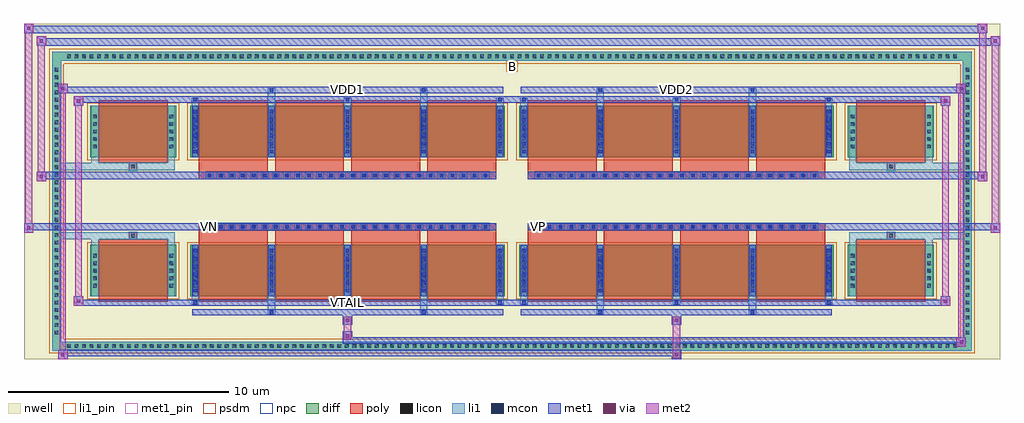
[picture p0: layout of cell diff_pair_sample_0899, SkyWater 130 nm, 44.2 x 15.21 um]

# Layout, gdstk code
import gdstk
lib = gdstk.Library(unit=1e-6, precision=5e-09)
def R(c, l, rs):  # rectangles x0, y0, x1, y1
    for r in rs: c.add(gdstk.rectangle(r[:2], r[2:], *l))
def A(c, l, x, y, w, h, nx, ny, dx, dy):  # array of equal rectangles
    R(c, l, [(x+i*dx, y+j*dy, x+i*dx+w, y+j*dy+h) for i in range(nx) for j in range(ny)])
def P(c, l, *ps):  # polygons
    for p in ps: c.add(gdstk.Polygon(p, *l))
nwell = (64, 20)
diff = (65, 20)
poly = (66, 20)
licon = (66, 44)
li1_pin = (67, 16)
li1 = (67, 20)
mcon = (67, 44)
met1_pin = (68, 16)
met1 = (68, 20)
via = (68, 44)
met2 = (69, 20)
psdm = (94, 20)
npc = (95, 20)

diff_pair_sample_0899 = lib.new_cell('diff_pair_sample_0899')
R(diff_pair_sample_0899, nwell, [(-22.1,-7.17,22.1,8.04), (-19.42,-5.36,-0.01,-0.8), (0.01,-5.36,19.42,-0.8), (-19.42,0.8,-0.01,5.36), (0.01,0.8,19.42,5.36)])
A(diff_pair_sample_0899, diff, -20.265, -6.77, 0.41, 0.41, 119, 2, 0.34, 13.13)
A(diff_pair_sample_0899, diff, -20.83, -6.155, 0.41, 0.41, 1, 36, 0, 0.34)
A(diff_pair_sample_0899, diff, 20.42, -6.155, 0.41, 0.41, 1, 36, 0, 0.34)
R(diff_pair_sample_0899, diff, [(-20.265,-6.77,20.265,-6.36), (-20.83,-6.155,-20.42,6.155), (20.42,-6.155,20.83,6.155), (-19.11,-4.315,-15.21,-1.985), (-14.57,-4.315,-0.32,-1.985), (0.32,-4.315,14.57,-1.985), (15.21,-4.315,19.11,-1.985), (-19.11,1.985,-15.21,4.315), (-14.57,1.985,-0.32,4.315), (0.32,1.985,14.57,4.315), (15.21,1.985,19.11,4.315), (-20.265,6.36,20.265,6.77)])
P(diff_pair_sample_0899, diff, [(20.83,6.77),(-20.83,6.77),(-20.83,-6.36),(-20.42,-6.36),(-20.42,6.36),(20.42,6.36),(20.42,-6.36),(-20.42,-6.36),(-20.83,-6.36),(-20.83,-6.77),(20.83,-6.77)])
A(diff_pair_sample_0899, poly, -14.18, -4.565, 3.12, 2.83, 4, 2, 3.45, 6.3)
A(diff_pair_sample_0899, poly, 0.71, -4.565, 3.12, 2.83, 4, 2, 3.45, 6.3)
A(diff_pair_sample_0899, poly, -14.18, -1.735, 3.12, 0.405, 4, 2, 3.45, 3.065)
A(diff_pair_sample_0899, poly, 0.71, -1.735, 3.12, 0.405, 4, 2, 3.45, 3.065)
A(diff_pair_sample_0899, poly, -13.86, -1.33, 0.33, 0.33, 26, 2, 0.5, 2.33)
A(diff_pair_sample_0899, poly, 1.03, -1.33, 0.33, 0.33, 26, 2, 0.5, 2.33)
R(diff_pair_sample_0899, poly, [(-18.72,-4.565,-15.6,-1.735), (15.6,-4.565,18.72,-1.735), (-17.325,-1.735,-16.995,-1.405), (-17.325,-1.735,-16.995,-1.405), (16.995,-1.735,17.325,-1.405), (16.995,-1.735,17.325,-1.405), (-14.18,-1.33,-0.71,-1), (0.71,-1.33,14.18,-1), (-14.18,1,-0.71,1.33), (0.71,1,14.18,1.33), (-17.325,1.405,-16.995,1.735), (-17.325,1.405,-16.995,1.735), (16.995,1.405,17.325,1.735), (16.995,1.405,17.325,1.735), (-18.72,1.735,-15.6,4.565), (15.6,1.735,18.72,4.565)])
A(diff_pair_sample_0899, licon, -20.145, -6.65, 0.17, 0.17, 119, 2, 0.34, 13.13)
A(diff_pair_sample_0899, licon, -20.71, -6.035, 0.17, 0.17, 1, 36, 0, 0.34)
A(diff_pair_sample_0899, licon, 20.54, -6.035, 0.17, 0.17, 1, 36, 0, 0.34)
A(diff_pair_sample_0899, licon, -18.97, -3.915, 0.17, 0.17, 1, 5, 0, 0.34)
A(diff_pair_sample_0899, licon, -15.52, -3.915, 0.17, 0.17, 1, 5, 0, 0.34)
A(diff_pair_sample_0899, licon, -14.43, -3.915, 0.17, 0.17, 5, 5, 3.45, 0.34)
A(diff_pair_sample_0899, licon, 0.46, -3.915, 0.17, 0.17, 5, 5, 3.45, 0.34)
A(diff_pair_sample_0899, licon, 15.35, -3.915, 0.17, 0.17, 1, 5, 0, 0.34)
A(diff_pair_sample_0899, licon, 18.8, -3.915, 0.17, 0.17, 1, 5, 0, 0.34)
A(diff_pair_sample_0899, licon, -13.78, -1.25, 0.17, 0.17, 26, 2, 0.5, 2.33)
A(diff_pair_sample_0899, licon, 1.11, -1.25, 0.17, 0.17, 26, 2, 0.5, 2.33)
A(diff_pair_sample_0899, licon, -18.97, 2.385, 0.17, 0.17, 1, 5, 0, 0.34)
A(diff_pair_sample_0899, licon, -15.52, 2.385, 0.17, 0.17, 1, 5, 0, 0.34)
A(diff_pair_sample_0899, licon, -14.43, 2.385, 0.17, 0.17, 5, 5, 3.45, 0.34)
A(diff_pair_sample_0899, licon, 0.46, 2.385, 0.17, 0.17, 5, 5, 3.45, 0.34)
A(diff_pair_sample_0899, licon, 15.35, 2.385, 0.17, 0.17, 1, 5, 0, 0.34)
A(diff_pair_sample_0899, licon, 18.8, 2.385, 0.17, 0.17, 1, 5, 0, 0.34)
R(diff_pair_sample_0899, licon, [(-17.245,-1.655,-17.075,-1.485), (17.075,-1.655,17.245,-1.485), (-17.245,1.485,-17.075,1.655), (17.075,1.485,17.245,1.655)])
R(diff_pair_sample_0899, li1_pin, [(-0.25,5.86,0.25,6.36)])
A(diff_pair_sample_0899, li1, -20.225, -6.73, 0.33, 0.33, 119, 2, 0.34, 13.13)
A(diff_pair_sample_0899, li1, -20.79, -6.115, 0.33, 0.33, 1, 36, 0, 0.34)
A(diff_pair_sample_0899, li1, 20.46, -6.115, 0.33, 0.33, 1, 36, 0, 0.34)
A(diff_pair_sample_0899, li1, -14.51, -4.69, 0.33, 0.375, 3, 2, 6.9, 9.005)
A(diff_pair_sample_0899, li1, -14.43, -4.69, 0.17, 0.17, 3, 2, 6.9, 9.21)
A(diff_pair_sample_0899, li1, 0.38, -4.69, 0.33, 0.375, 3, 2, 6.9, 9.005)
A(diff_pair_sample_0899, li1, 0.46, -4.69, 0.17, 0.17, 3, 2, 6.9, 9.21)
A(diff_pair_sample_0899, li1, -14.51, -4.315, 0.33, 2.33, 5, 2, 3.45, 6.3)
A(diff_pair_sample_0899, li1, 0.38, -4.315, 0.33, 2.33, 5, 2, 3.45, 6.3)
A(diff_pair_sample_0899, li1, -14.43, -4.135, 0.17, 0.17, 5, 6, 3.45, 0.36)
A(diff_pair_sample_0899, li1, -14.43, -4.135, 0.17, 1.97, 5, 2, 3.45, 6.3)
A(diff_pair_sample_0899, li1, 0.46, -4.135, 0.17, 0.17, 5, 6, 3.45, 0.36)
A(diff_pair_sample_0899, li1, 0.46, -4.135, 0.17, 1.97, 5, 2, 3.45, 6.3)
A(diff_pair_sample_0899, li1, -19.05, -3.995, 0.33, 0.33, 1, 5, 0, 0.34)
A(diff_pair_sample_0899, li1, -15.6, -3.995, 0.33, 0.33, 1, 5, 0, 0.34)
A(diff_pair_sample_0899, li1, -14.51, -3.995, 0.33, 0.33, 5, 5, 3.45, 0.34)
A(diff_pair_sample_0899, li1, 0.38, -3.995, 0.33, 0.33, 5, 5, 3.45, 0.34)
A(diff_pair_sample_0899, li1, 15.27, -3.995, 0.33, 0.33, 1, 5, 0, 0.34)
A(diff_pair_sample_0899, li1, 18.72, -3.995, 0.33, 0.33, 1, 5, 0, 0.34)
A(diff_pair_sample_0899, li1, -13.86, -1.33, 0.33, 0.33, 26, 2, 0.5, 2.33)
A(diff_pair_sample_0899, li1, 1.03, -1.33, 0.33, 0.33, 26, 2, 0.5, 2.33)
A(diff_pair_sample_0899, li1, -14.43, 2.165, 0.17, 0.17, 5, 6, 3.45, 0.36)
A(diff_pair_sample_0899, li1, 0.46, 2.165, 0.17, 0.17, 5, 6, 3.45, 0.36)
A(diff_pair_sample_0899, li1, -19.05, 2.305, 0.33, 0.33, 1, 5, 0, 0.34)
A(diff_pair_sample_0899, li1, -15.6, 2.305, 0.33, 0.33, 1, 5, 0, 0.34)
A(diff_pair_sample_0899, li1, -14.51, 2.305, 0.33, 0.33, 5, 5, 3.45, 0.34)
A(diff_pair_sample_0899, li1, 0.38, 2.305, 0.33, 0.33, 5, 5, 3.45, 0.34)
A(diff_pair_sample_0899, li1, 15.27, 2.305, 0.33, 0.33, 1, 5, 0, 0.34)
A(diff_pair_sample_0899, li1, 18.72, 2.305, 0.33, 0.33, 1, 5, 0, 0.34)
R(diff_pair_sample_0899, li1, [(-20.83,-6.77,-20.42,-6.36), (-20.83,-6.77,-20.42,-6.36), (-20.42,-6.77,20.42,-6.36), (20.42,-6.77,20.83,-6.36), (20.42,-6.77,20.83,-6.36), (-20.83,-6.36,-20.42,6.36), (20.42,-6.36,20.83,6.36), (-11.06,-5.12,-10.73,-4.315), (-10.98,-5.12,-10.81,-4.95), (-4.16,-5.12,-3.83,-4.315), (-4.08,-5.12,-3.91,-4.95), (3.83,-5.12,4.16,-4.315), (3.91,-5.12,4.08,-4.95), (10.73,-5.12,11.06,-4.315), (10.81,-5.12,10.98,-4.95), (-19.05,-4.315,-18.72,-1.985), (-15.6,-4.315,-15.27,-1.985), (15.27,-4.315,15.6,-1.985), (18.72,-4.315,19.05,-1.985), (-19.05,-1.985,-18.72,-1.405), (-15.6,-1.985,-15.27,-1.405), (15.27,-1.985,15.6,-1.405), (18.72,-1.985,19.05,-1.405), (-20.83,-1.735,-17.325,-1.405), (-19.05,-1.735,-17.325,-1.405), (-17.325,-1.735,-16.995,-1.405), (-16.995,-1.735,-15.27,-1.405), (15.27,-1.735,16.995,-1.405), (16.995,-1.735,17.325,-1.405), (16.995,-1.735,20.83,-1.405), (17.325,-1.735,19.05,-1.405), (-20.83,1.405,-17.325,1.735), (-19.05,1.405,-17.325,1.735), (-19.05,1.405,-18.72,1.985), (-17.325,1.405,-16.995,1.735), (-16.995,1.405,-15.27,1.735), (-15.6,1.405,-15.27,1.985), (15.27,1.405,16.995,1.735), (15.27,1.405,15.6,1.985), (16.995,1.405,17.325,1.735), (16.995,1.405,20.83,1.735), (17.325,1.405,19.05,1.735), (18.72,1.405,19.05,1.985), (-19.05,1.985,-18.72,4.315), (-15.6,1.985,-15.27,4.315), (15.27,1.985,15.6,4.315), (18.72,1.985,19.05,4.315), (-11.06,4.315,-10.73,5.12), (-4.16,4.315,-3.83,5.12), (3.83,4.315,4.16,5.12), (10.73,4.315,11.06,5.12), (-10.98,4.95,-10.81,5.12), (-4.08,4.95,-3.91,5.12), (3.91,4.95,4.08,5.12), (10.81,4.95,10.98,5.12), (-20.83,6.36,-20.42,6.77), (-20.83,6.36,-20.42,6.77), (-20.42,6.36,20.42,6.77), (20.42,6.36,20.83,6.77), (20.42,6.36,20.83,6.77)])
A(diff_pair_sample_0899, mcon, -14.43, -4.69, 0.17, 0.17, 3, 2, 6.9, 9.21)
A(diff_pair_sample_0899, mcon, 0.46, -4.69, 0.17, 0.17, 3, 2, 6.9, 9.21)
A(diff_pair_sample_0899, mcon, -14.43, -4.135, 0.17, 0.17, 5, 6, 3.45, 0.36)
A(diff_pair_sample_0899, mcon, 0.46, -4.135, 0.17, 0.17, 5, 6, 3.45, 0.36)
A(diff_pair_sample_0899, mcon, -13.78, -1.25, 0.17, 0.17, 26, 2, 0.5, 2.33)
A(diff_pair_sample_0899, mcon, 1.11, -1.25, 0.17, 0.17, 26, 2, 0.5, 2.33)
A(diff_pair_sample_0899, mcon, -14.43, 2.165, 0.17, 0.17, 5, 6, 3.45, 0.36)
A(diff_pair_sample_0899, mcon, 0.46, 2.165, 0.17, 0.17, 5, 6, 3.45, 0.36)
R(diff_pair_sample_0899, mcon, [(-10.98,-5.12,-10.81,-4.95), (-4.08,-5.12,-3.91,-4.95), (3.91,-5.12,4.08,-4.95), (10.81,-5.12,10.98,-4.95), (-10.98,4.95,-10.81,5.12), (-4.08,4.95,-3.91,5.12), (3.91,4.95,4.08,5.12), (10.81,4.95,10.98,5.12)])
R(diff_pair_sample_0899, met1_pin, [(-7.58,-4.73,-7.31,-4.46), (-13.83,-1.29,-13.56,-1.02), (1.06,-1.29,1.33,-1.02), (-7.58,4.91,-7.31,5.18), (7.31,4.91,7.58,5.18)])
A(diff_pair_sample_0899, met1, -14.49, -4.75, 0.29, 0.29, 3, 2, 6.9, 9.21)
A(diff_pair_sample_0899, met1, 0.4, -4.75, 0.29, 0.29, 3, 2, 6.9, 9.21)
A(diff_pair_sample_0899, met1, -14.49, -4.315, 0.29, 2.33, 5, 2, 3.45, 6.3)
A(diff_pair_sample_0899, met1, 0.4, -4.315, 0.29, 2.33, 5, 2, 3.45, 6.3)
A(diff_pair_sample_0899, met1, -14.49, -4.195, 0.29, 0.29, 5, 6, 3.45, 0.36)
A(diff_pair_sample_0899, met1, 0.4, -4.195, 0.29, 0.29, 5, 6, 3.45, 0.36)
A(diff_pair_sample_0899, met1, -13.84, -1.31, 0.29, 0.29, 26, 2, 0.5, 2.33)
A(diff_pair_sample_0899, met1, 1.05, -1.31, 0.29, 0.29, 26, 2, 0.5, 2.33)
A(diff_pair_sample_0899, met1, -14.49, 2.105, 0.29, 0.29, 5, 6, 3.45, 0.36)
A(diff_pair_sample_0899, met1, 0.4, 2.105, 0.29, 0.29, 5, 6, 3.45, 0.36)
R(diff_pair_sample_0899, met1, [(-20.56,-7.17,-20.13,-6.74), (7.23,-7.17,7.66,-6.74), (-20.56,-7.03,7.66,-6.74), (20.13,-6.6,20.56,-6.17), (-7.66,-6.46,20.56,-6.17), (-7.66,-6.32,-7.23,-5.89), (-7.66,-5.61,-7.23,-5.18), (7.23,-5.61,7.66,-5.18), (-14.49,-5.18,-0.4,-4.89), (-11.04,-5.18,-10.75,-4.89), (-4.14,-5.18,-3.85,-4.89), (0.4,-5.18,14.49,-4.89), (3.85,-5.18,4.14,-4.89), (10.75,-5.18,11.04,-4.89), (-19.85,-4.75,-19.42,-4.32), (-19.85,-4.75,-14.49,-4.46), (-14.49,-4.75,-0.4,-4.46), (-0.4,-4.75,0.4,-4.46), (0.4,-4.75,14.49,-4.46), (14.49,-4.75,19.85,-4.46), (19.42,-4.75,19.85,-4.32), (-22.1,-1.43,-21.67,-1), (21.67,-1.43,22.1,-1), (-22.1,-1.33,-0.71,-1), (-14.18,-1.33,-0.71,-1), (0.71,-1.33,14.18,-1), (0.71,-1.33,22.1,-1), (-21.53,0.9,-21.1,1.33), (21.1,0.9,21.53,1.33), (-21.53,1,-14.18,1.33), (-14.18,1,-0.71,1.33), (0.71,1,14.18,1.33), (14.18,1,21.53,1.33), (-19.85,4.32,-19.42,4.75), (19.42,4.32,19.85,4.75), (-19.85,4.46,-14.49,4.75), (-14.49,4.46,-0.4,4.75), (-0.4,4.46,0.4,4.75), (0.4,4.46,14.49,4.75), (14.49,4.46,19.85,4.75), (-20.56,4.89,-20.13,5.32), (-20.56,4.89,-14.49,5.18), (-14.49,4.89,-0.4,5.18), (-11.04,4.89,-10.75,5.18), (-4.14,4.89,-3.85,5.18), (0.4,4.89,14.49,5.18), (3.85,4.89,4.14,5.18), (10.75,4.89,11.04,5.18), (14.49,4.89,20.56,5.18), (20.13,4.89,20.56,5.32), (-21.53,7.04,-21.1,7.47), (-21.53,7.04,-19.42,7.37), (-19.42,7.04,19.42,7.37), (19.42,7.04,22.1,7.37), (21.67,7.04,22.1,7.47), (-22.1,7.61,-21.67,8.04), (-22.1,7.61,-19.42,7.94), (-19.42,7.61,19.42,7.94), (19.42,7.61,21.53,7.94), (21.1,7.61,21.53,8.04)])
R(diff_pair_sample_0899, via, [(-20.42,-7.03,-20.27,-6.88), (7.37,-7.03,7.52,-6.88), (20.27,-6.46,20.42,-6.31), (-7.52,-6.18,-7.37,-6.03), (-7.52,-5.47,-7.37,-5.32), (7.37,-5.47,7.52,-5.32), (-19.71,-4.61,-19.56,-4.46), (19.56,-4.61,19.71,-4.46), (-21.96,-1.29,-21.81,-1.14), (21.81,-1.29,21.96,-1.14), (-21.39,1.04,-21.24,1.19), (21.24,1.04,21.39,1.19), (-19.71,4.46,-19.56,4.61), (19.56,4.46,19.71,4.61), (-20.42,5.03,-20.27,5.18), (20.27,5.03,20.42,5.18), (-21.39,7.18,-21.24,7.33), (21.81,7.18,21.96,7.33), (-21.96,7.75,-21.81,7.9), (21.24,7.75,21.39,7.9)])
R(diff_pair_sample_0899, met2, [(-20.56,-7.17,-20.13,-6.74), (-20.49,-7.17,-20.2,5.32), (-20.2,-7.17,-20.13,-6.74), (-20.51,-7.12,-20.18,-6.79), (7.28,-7.12,7.61,-6.79), (7.28,-6.79,7.61,-5.56), (20.13,-6.6,20.56,-6.17), (20.2,-6.6,20.49,5.32), (20.49,-6.6,20.56,-6.17), (20.18,-6.55,20.51,-6.22), (-7.61,-6.27,-7.28,-5.94), (-7.61,-5.94,-7.28,-5.56), (-7.61,-5.56,-7.28,-5.23), (7.28,-5.56,7.61,-5.23), (-19.85,-4.75,-19.42,-4.32), (-19.78,-4.75,-19.49,4.75), (-19.49,-4.75,-19.42,-4.32), (19.42,-4.75,19.85,-4.32), (19.49,-4.75,19.78,4.75), (19.78,-4.75,19.85,-4.32), (-19.8,-4.7,-19.47,-4.37), (19.47,-4.7,19.8,-4.37), (-22.1,-1.43,-21.67,-1), (-22.05,-1.43,-21.72,8.04), (-21.72,-1.43,-21.67,-1), (21.67,-1.43,22.1,-1), (21.72,-1.43,22.05,7.47), (22.05,-1.43,22.1,-1), (-22.05,-1.38,-21.72,-1.05), (21.72,-1.38,22.05,-1.05), (-21.53,0.9,-21.1,1.33), (-21.48,0.9,-21.15,7.47), (-21.15,0.9,-21.1,1.33), (21.1,0.9,21.53,1.33), (21.15,0.9,21.48,8.04), (21.48,0.9,21.53,1.33), (-21.48,0.95,-21.15,1.28), (21.15,0.95,21.48,1.28), (-19.85,4.32,-19.42,4.75), (-19.49,4.32,-19.42,4.75), (19.42,4.32,19.85,4.75), (19.78,4.32,19.85,4.75), (-19.8,4.37,-19.47,4.7), (19.47,4.37,19.8,4.7), (-20.56,4.89,-20.13,5.32), (-20.2,4.89,-20.13,5.32), (20.13,4.89,20.56,5.32), (20.49,4.89,20.56,5.32), (-20.51,4.94,-20.18,5.27), (20.18,4.94,20.51,5.27), (-21.53,7.04,-21.1,7.47), (-21.15,7.04,-21.1,7.47), (21.67,7.04,22.1,7.47), (22.05,7.04,22.1,7.47), (-21.48,7.09,-21.15,7.42), (21.72,7.09,22.05,7.42), (-22.1,7.61,-21.67,8.04), (-21.72,7.61,-21.67,8.04), (21.1,7.61,21.53,8.04), (21.48,7.61,21.53,8.04), (-22.05,7.66,-21.72,7.99), (21.15,7.66,21.48,7.99)])
R(diff_pair_sample_0899, psdm, [(-19.24,-4.445,-15.08,-1.855), (-14.7,-4.445,-0.19,-1.855), (0.19,-4.445,14.7,-1.855), (15.08,-4.445,19.24,-1.855), (-19.24,1.855,-15.08,4.445), (-14.7,1.855,-0.19,4.445), (0.19,1.855,14.7,4.445), (15.08,1.855,19.24,4.445)])
P(diff_pair_sample_0899, psdm, [(20.96,6.9),(-20.96,6.9),(-20.96,-6.23),(-20.29,-6.23),(-20.29,6.23),(20.29,6.23),(20.29,-6.23),(-20.29,-6.23),(-20.96,-6.23),(-20.96,-6.9),(20.96,-6.9)])
A(diff_pair_sample_0899, npc, -13.88, -1.35, 0.37, 0.37, 26, 2, 0.5, 2.33)
A(diff_pair_sample_0899, npc, 1.01, -1.35, 0.37, 0.37, 26, 2, 0.5, 2.33)
R(diff_pair_sample_0899, npc, [(-17.345,-1.755,-16.975,-1.385), (16.975,-1.755,17.345,-1.385), (-13.88,-1.35,-13.01,-0.98), (-13.88,-1.35,-13.01,-0.98), (-13.38,-1.35,-12.51,-0.98), (-13.38,-1.35,-12.51,-0.98), (-12.88,-1.35,-12.01,-0.98), (-12.88,-1.35,-12.01,-0.98), (-12.38,-1.35,-11.51,-0.98), (-12.38,-1.35,-11.51,-0.98), (-11.88,-1.35,-11.01,-0.98), (-11.88,-1.35,-11.01,-0.98), (-11.38,-1.35,-10.51,-0.98), (-11.38,-1.35,-10.51,-0.98), (-10.88,-1.35,-10.01,-0.98), (-10.88,-1.35,-10.01,-0.98), (-10.38,-1.35,-9.51,-0.98), (-10.38,-1.35,-9.51,-0.98), (-9.88,-1.35,-9.01,-0.98), (-9.88,-1.35,-9.01,-0.98), (-9.38,-1.35,-8.51,-0.98), (-9.38,-1.35,-8.51,-0.98), (-8.88,-1.35,-8.01,-0.98), (-8.88,-1.35,-8.01,-0.98), (-8.38,-1.35,-7.51,-0.98), (-8.38,-1.35,-7.51,-0.98), (-7.88,-1.35,-7.01,-0.98), (-7.88,-1.35,-7.01,-0.98), (-7.38,-1.35,-6.51,-0.98), (-7.38,-1.35,-6.51,-0.98), (-6.88,-1.35,-6.01,-0.98), (-6.88,-1.35,-6.01,-0.98), (-6.38,-1.35,-5.51,-0.98), (-6.38,-1.35,-5.51,-0.98), (-5.88,-1.35,-5.01,-0.98), (-5.88,-1.35,-5.01,-0.98), (-5.38,-1.35,-4.51,-0.98), (-5.38,-1.35,-4.51,-0.98), (-4.88,-1.35,-4.01,-0.98), (-4.88,-1.35,-4.01,-0.98), (-4.38,-1.35,-3.51,-0.98), (-4.38,-1.35,-3.51,-0.98), (-3.88,-1.35,-3.01,-0.98), (-3.88,-1.35,-3.01,-0.98), (-3.38,-1.35,-2.51,-0.98), (-3.38,-1.35,-2.51,-0.98), (-2.88,-1.35,-2.01,-0.98), (-2.88,-1.35,-2.01,-0.98), (-2.38,-1.35,-1.51,-0.98), (-2.38,-1.35,-1.51,-0.98), (-1.88,-1.35,-1.01,-0.98), (-1.88,-1.35,-1.01,-0.98), (1.01,-1.35,1.88,-0.98), (1.01,-1.35,1.88,-0.98), (1.51,-1.35,2.38,-0.98), (1.51,-1.35,2.38,-0.98), (2.01,-1.35,2.88,-0.98), (2.01,-1.35,2.88,-0.98), (2.51,-1.35,3.38,-0.98), (2.51,-1.35,3.38,-0.98), (3.01,-1.35,3.88,-0.98), (3.01,-1.35,3.88,-0.98), (3.51,-1.35,4.38,-0.98), (3.51,-1.35,4.38,-0.98), (4.01,-1.35,4.88,-0.98), (4.01,-1.35,4.88,-0.98), (4.51,-1.35,5.38,-0.98), (4.51,-1.35,5.38,-0.98), (5.01,-1.35,5.88,-0.98), (5.01,-1.35,5.88,-0.98), (5.51,-1.35,6.38,-0.98), (5.51,-1.35,6.38,-0.98), (6.01,-1.35,6.88,-0.98), (6.01,-1.35,6.88,-0.98), (6.51,-1.35,7.38,-0.98), (6.51,-1.35,7.38,-0.98), (7.01,-1.35,7.88,-0.98), (7.01,-1.35,7.88,-0.98), (7.51,-1.35,8.38,-0.98), (7.51,-1.35,8.38,-0.98), (8.01,-1.35,8.88,-0.98), (8.01,-1.35,8.88,-0.98), (8.51,-1.35,9.38,-0.98), (8.51,-1.35,9.38,-0.98), (9.01,-1.35,9.88,-0.98), (9.01,-1.35,9.88,-0.98), (9.51,-1.35,10.38,-0.98), (9.51,-1.35,10.38,-0.98), (10.01,-1.35,10.88,-0.98), (10.01,-1.35,10.88,-0.98), (10.51,-1.35,11.38,-0.98), (10.51,-1.35,11.38,-0.98), (11.01,-1.35,11.88,-0.98), (11.01,-1.35,11.88,-0.98), (11.51,-1.35,12.38,-0.98), (11.51,-1.35,12.38,-0.98), (12.01,-1.35,12.88,-0.98), (12.01,-1.35,12.88,-0.98), (12.51,-1.35,13.38,-0.98), (12.51,-1.35,13.38,-0.98), (13.01,-1.35,13.88,-0.98), (13.01,-1.35,13.88,-0.98), (-13.88,0.98,-13.01,1.35), (-13.88,0.98,-13.01,1.35), (-13.38,0.98,-12.51,1.35), (-13.38,0.98,-12.51,1.35), (-12.88,0.98,-12.01,1.35), (-12.88,0.98,-12.01,1.35), (-12.38,0.98,-11.51,1.35), (-12.38,0.98,-11.51,1.35), (-11.88,0.98,-11.01,1.35), (-11.88,0.98,-11.01,1.35), (-11.38,0.98,-10.51,1.35), (-11.38,0.98,-10.51,1.35), (-10.88,0.98,-10.01,1.35), (-10.88,0.98,-10.01,1.35), (-10.38,0.98,-9.51,1.35), (-10.38,0.98,-9.51,1.35), (-9.88,0.98,-9.01,1.35), (-9.88,0.98,-9.01,1.35), (-9.38,0.98,-8.51,1.35), (-9.38,0.98,-8.51,1.35), (-8.88,0.98,-8.01,1.35), (-8.88,0.98,-8.01,1.35), (-8.38,0.98,-7.51,1.35), (-8.38,0.98,-7.51,1.35), (-7.88,0.98,-7.01,1.35), (-7.88,0.98,-7.01,1.35), (-7.38,0.98,-6.51,1.35), (-7.38,0.98,-6.51,1.35), (-6.88,0.98,-6.01,1.35), (-6.88,0.98,-6.01,1.35), (-6.38,0.98,-5.51,1.35), (-6.38,0.98,-5.51,1.35), (-5.88,0.98,-5.01,1.35), (-5.88,0.98,-5.01,1.35), (-5.38,0.98,-4.51,1.35), (-5.38,0.98,-4.51,1.35), (-4.88,0.98,-4.01,1.35), (-4.88,0.98,-4.01,1.35), (-4.38,0.98,-3.51,1.35), (-4.38,0.98,-3.51,1.35), (-3.88,0.98,-3.01,1.35), (-3.88,0.98,-3.01,1.35), (-3.38,0.98,-2.51,1.35), (-3.38,0.98,-2.51,1.35), (-2.88,0.98,-2.01,1.35), (-2.88,0.98,-2.01,1.35), (-2.38,0.98,-1.51,1.35), (-2.38,0.98,-1.51,1.35), (-1.88,0.98,-1.01,1.35), (-1.88,0.98,-1.01,1.35), (1.01,0.98,1.88,1.35), (1.01,0.98,1.88,1.35), (1.51,0.98,2.38,1.35), (1.51,0.98,2.38,1.35), (2.01,0.98,2.88,1.35), (2.01,0.98,2.88,1.35), (2.51,0.98,3.38,1.35), (2.51,0.98,3.38,1.35), (3.01,0.98,3.88,1.35), (3.01,0.98,3.88,1.35), (3.51,0.98,4.38,1.35), (3.51,0.98,4.38,1.35), (4.01,0.98,4.88,1.35), (4.01,0.98,4.88,1.35), (4.51,0.98,5.38,1.35), (4.51,0.98,5.38,1.35), (5.01,0.98,5.88,1.35), (5.01,0.98,5.88,1.35), (5.51,0.98,6.38,1.35), (5.51,0.98,6.38,1.35), (6.01,0.98,6.88,1.35), (6.01,0.98,6.88,1.35), (6.51,0.98,7.38,1.35), (6.51,0.98,7.38,1.35), (7.01,0.98,7.88,1.35), (7.01,0.98,7.88,1.35), (7.51,0.98,8.38,1.35), (7.51,0.98,8.38,1.35), (8.01,0.98,8.88,1.35), (8.01,0.98,8.88,1.35), (8.51,0.98,9.38,1.35), (8.51,0.98,9.38,1.35), (9.01,0.98,9.88,1.35), (9.01,0.98,9.88,1.35), (9.51,0.98,10.38,1.35), (9.51,0.98,10.38,1.35), (10.01,0.98,10.88,1.35), (10.01,0.98,10.88,1.35), (10.51,0.98,11.38,1.35), (10.51,0.98,11.38,1.35), (11.01,0.98,11.88,1.35), (11.01,0.98,11.88,1.35), (11.51,0.98,12.38,1.35), (11.51,0.98,12.38,1.35), (12.01,0.98,12.88,1.35), (12.01,0.98,12.88,1.35), (12.51,0.98,13.38,1.35), (12.51,0.98,13.38,1.35), (13.01,0.98,13.88,1.35), (13.01,0.98,13.88,1.35), (-17.345,1.385,-16.975,1.755), (16.975,1.385,17.345,1.755)])
diff_pair_sample_0899.add(gdstk.Label('VTAIL', (-7.445,-4.595), layer=68, texttype=5))
diff_pair_sample_0899.add(gdstk.Label('VN', (-13.695,-1.155), layer=68, texttype=5))
diff_pair_sample_0899.add(gdstk.Label('VP', (1.195,-1.155), layer=68, texttype=5))
diff_pair_sample_0899.add(gdstk.Label('B', (0,6.11), layer=67, texttype=5))
diff_pair_sample_0899.add(gdstk.Label('VDD2', (7.445,5.045), layer=68, texttype=5))
diff_pair_sample_0899.add(gdstk.Label('VDD1', (-7.445,5.045), layer=68, texttype=5))

lib.write_gds('diff_pair_sample_0899.gds')
